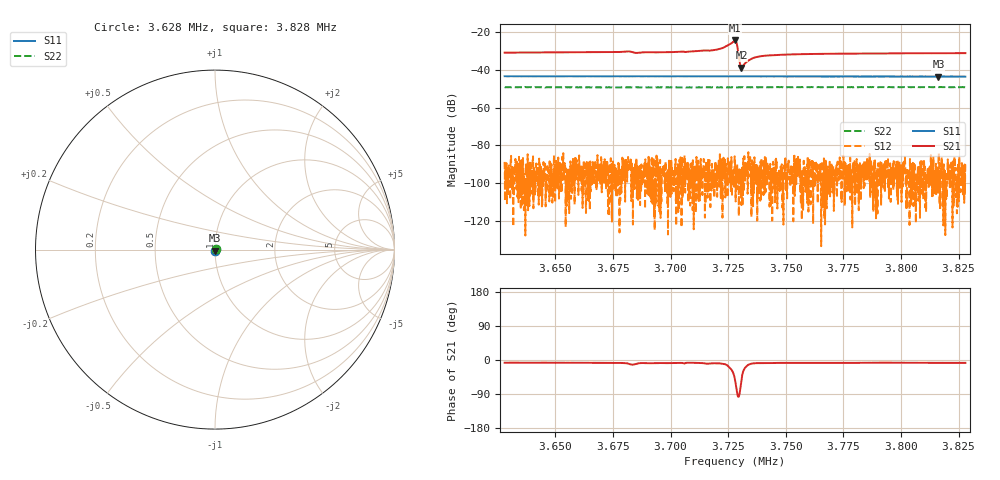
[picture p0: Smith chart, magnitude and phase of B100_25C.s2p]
# Hz S dB R 50.000
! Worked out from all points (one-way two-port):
!   6401 points, 3.628 MHz to 3.828 MHz, reference 50 ohm
!   highest |S21| = -24.38 dB at 3.728 MHz (marker M1); lowest = -38.9 dB at 3.731 MHz (marker M2)
!   lowest |S11| = -43.6 dB at 3.816 MHz (marker M3), VSWR 1.01, Z = 49.9 - j0.653 ohm
!   |S11| at or under -10 dB: start of sweep to end of sweep
!   |S22| runs from -49.4 to -49.0 dB; largest |S21 - S12| = 0.06
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3627969  -43.35 -98.4  -30.85 -7.2  -88.83 -14.7  -49.13 22.6
3661313  -43.40 -98.7  -30.69 -7.4  -95.35 -75.8  -49.26 23.9
3681594  -43.38 -98.8  -30.19 -9.4  -87.43 84.8  -49.34 24.0
3685188  -43.38 -98.7  -30.99 -9.8  -89.50 22.2  -49.22 24.3
3694656  -43.36 -98.9  -30.67 -8.2  -105.77 -109.0  -49.23 24.7
3718313  -43.39 -98.6  -29.58 -8.7  -98.54 103.4  -49.24 24.4
3722532  -43.44 -98.7  -28.42 -9.6  -118.44 -156.5  -49.30 24.3
3727375  -43.38 -98.8  -24.86 -37.2  -100.29 -156.5  -49.33 24.4
3727969  -43.42 -98.7  -24.38 -52.1  -90.15 21.1  -49.25 24.2
3728313  -43.41 -98.8  -24.60 -64.4  -100.65 -177.9  -49.31 24.6
3728688  -43.42 -98.7  -25.83 -80.0  -96.51 -0.1  -49.26 24.3
3730063  -43.44 -98.7  -36.75 -84.7  -95.25 51.2  -49.26 24.4
3730406  -43.45 -98.7  -38.43 -69.3  -98.94 -112.7  -49.22 24.3
3730750  -43.40 -98.9  -38.90 -52.8  -111.73 -122.9  -49.23 24.8
3731344  -43.44 -98.8  -38.10 -33.7  -106.94 135.5  -49.13 24.3
3733094  -43.45 -98.7  -35.70 -15.7  -92.66 -69.6  -49.20 24.1
3735063  -43.44 -98.9  -34.15 -9.7  -101.12 -142.9  -49.20 24.5
3739000  -43.43 -98.8  -32.78 -8.1  -95.20 -75.3  -49.20 24.4
3761313  -43.46 -99.0  -31.56 -7.4  -88.76 102.6  -49.12 24.4
3794656  -43.53 -98.8  -31.26 -7.0  -98.95 64.7  -49.10 24.3
3816250  -43.58 -98.7  -31.16 -7.5  -88.30 39.9  -49.23 24.4
3827969  -43.56 -99.0  -31.12 -7.5  -88.66 -107.6  -49.21 24.1
